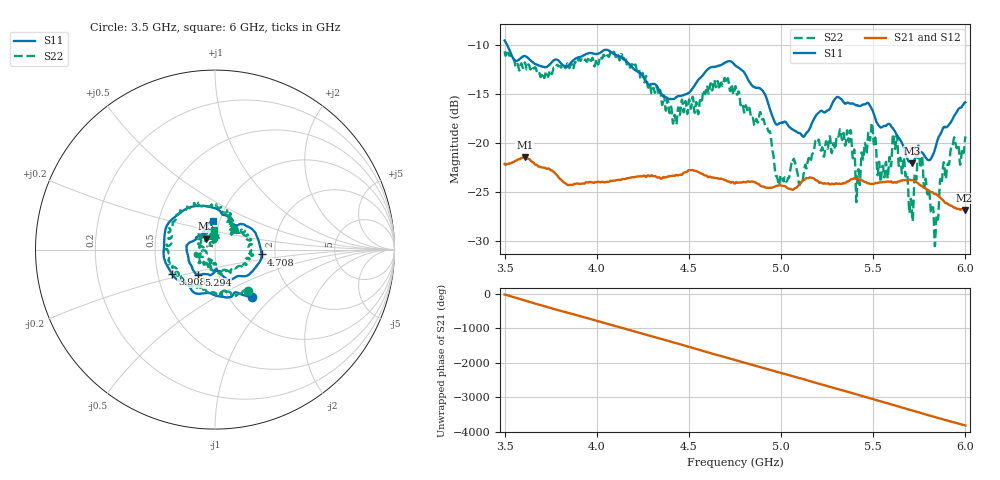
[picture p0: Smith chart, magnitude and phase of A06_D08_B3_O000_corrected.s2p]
! Created with skrf 1.9.0 (http://scikit-rf.org).
# Hz S RI R 50.0
!freq ReS11 ImS11 ReS21 ImS21 ReS12 ImS12 ReS22 ImS22
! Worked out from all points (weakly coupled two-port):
!   1601 points, 3.5 GHz to 6 GHz, reference 50 ohm
!   highest |S21| = -21.48 dB at 3.609 GHz (marker M1); lowest = -26.9 dB at 5.995 GHz (marker M2)
!   lowest |S11| = -22.1 dB at 5.711 GHz (marker M3), VSWR 1.17, Z = 44.9 + j5.48 ohm
!   |S11| at or under -10 dB: 3.514 GHz to end of sweep
!   |S22| runs from -30.6 to -10.5 dB; largest |S21 - S12| = 0.0012
!   S11 on the Smith chart (normalised r, x): 3.5 GHz: 1.27, -0.75; 3.908 GHz: 0.60, -0.18; 4.708 GHz: 1.70, -0.10; 5.294 GHz: 0.80, -0.23; 6 GHz: 0.93, +0.31
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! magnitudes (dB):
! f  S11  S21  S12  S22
! 3.5 GHz  -9.5  -22.2  -22.1  -10.6
! 3.609 GHz  -11.1  -21.5  -21.5  -11.8
! 3.908 GHz  -11.2  -24.2  -24.2  -11.5
! 3.917 GHz  -11.2  -24.2  -24.2  -11.5
! 4.334 GHz  -14.5  -23.5  -23.5  -15.0
! 4.423 GHz  -15.5  -23.3  -23.3  -17.1
! 4.708 GHz  -11.7  -23.9  -23.9  -13.6
! 4.75 GHz  -12.1  -24.2  -24.1  -14.3
! 4.931 GHz  -16.0  -24.6  -24.6  -18.8
! 4.981 GHz  -18.1  -24.4  -24.4  -23.7
! 5.167 GHz  -18.0  -23.6  -23.6  -21.2
! 5.294 GHz  -15.5  -24.2  -24.2  -20.7
! 5.417 GHz  -16.2  -23.7  -23.8  -22.9
! 5.484 GHz  -16.3  -24.2  -24.2  -19.5
! 5.584 GHz  -18.1  -24.0  -24.0  -22.1
! 5.619 GHz  -18.9  -24.0  -24.0  -20.6
! 5.711 GHz  -22.1  -23.8  -23.8  -27.5
! 5.753 GHz  -21.0  -24.3  -24.3  -22.0
! 5.841 GHz  -20.3  -25.2  -25.2  -28.1
! 5.93 GHz  -17.6  -26.5  -26.5  -20.3
! 5.995 GHz  -15.9  -26.9  -26.8  -20.2
! 6 GHz  -15.9  -26.8  -26.8  -19.3
